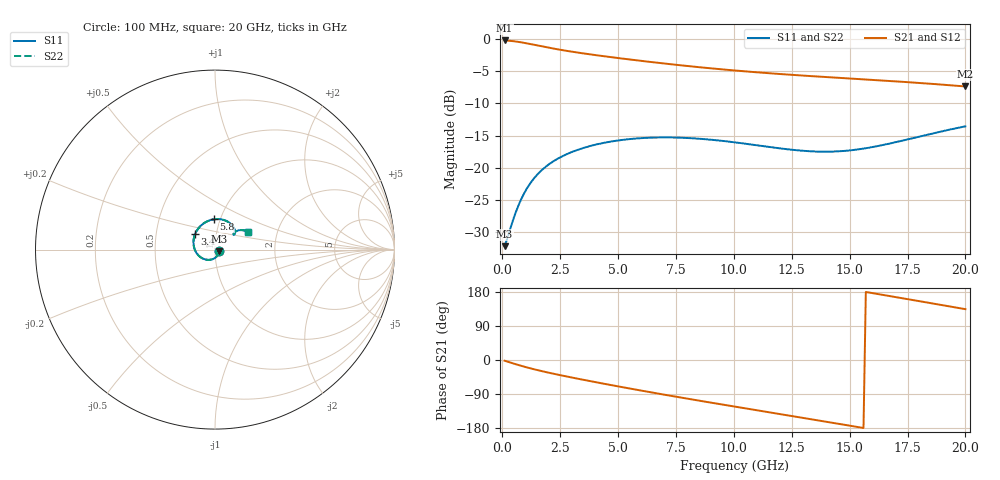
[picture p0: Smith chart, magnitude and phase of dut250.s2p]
! Created with skrf 1.9.0 (http://scikit-rf.org).
# GHz S RI R 50.0
!freq ReS11 ImS11 ReS21 ImS21 ReS12 ImS12 ReS22 ImS22
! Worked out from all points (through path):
!   200 points, 100 MHz to 20 GHz, reference 50 ohm
!   highest |S21| = -0.21 dB at 100 MHz (marker M1); lowest = -7.4 dB at 20 GHz (marker M2)
!   group delay of S21, straight-line fit = 29.7 ps
!   lowest |S11| = -32.2 dB at 100 MHz (marker M3), VSWR 1.05, Z = 52.3 - j1.03 ohm
!   |S11| at or under -10 dB: start of sweep to end of sweep
!   |S22| runs from -32.2 to -13.6 dB; largest |S21 - S12| = 2.1e-15
!   S11 on the Smith chart (normalised r, x): 100 MHz: 1.05, -0.02; 3.4 GHz: 0.79, +0.14; 5.8 GHz: 0.93, +0.32; 20 GHz: 1.42, +0.30
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0.1  0.0225 -0.00982  0.9756 -0.0325  0.9756 -0.0325  0.0225 -0.00982
0.5  0.00737 -0.0403  0.949 -0.1613  0.949 -0.1613  0.00737 -0.0403
0.7  -0.00715 -0.0506  0.9259 -0.2192  0.9259 -0.2192  -0.00715 -0.0506
1  -0.033 -0.0572  0.883 -0.2958  0.883 -0.2958  -0.033 -0.0572
1.3  -0.0593 -0.0534  0.8345 -0.3605  0.8345 -0.3605  -0.0593 -0.0534
1.7  -0.0888 -0.0356  0.7667 -0.4304  0.7667 -0.4304  -0.0888 -0.0356
2.2  -0.1121 -0.00142  0.6824 -0.4983  0.6824 -0.4983  -0.1121 -0.00142
2.8  -0.12 0.0444  0.5845 -0.56  0.5845 -0.56  -0.12 0.0444
3.4  -0.1109 0.0865  0.4896 -0.6059  0.4896 -0.6059  -0.1109 0.0865
3.5  -0.1081 0.0928  0.474 -0.6123  0.474 -0.6123  -0.1081 0.0928
4.6  -0.0641 0.1453  0.3068 -0.66  0.3068 -0.66  -0.0641 0.1453
5.8  -0.0063 0.1689  0.1359 -0.6705  0.1359 -0.6705  -0.0063 0.1689
6.8  0.0369 0.1681  0.00664 -0.6519  0.00664 -0.6519  0.0369 0.1681
8.4  0.0855 0.1454  -0.17 -0.5832  -0.17 -0.5832  0.0855 0.1454
10.1  0.1084 0.1137  -0.3149 -0.474  -0.3149 -0.474  0.1084 0.1137
11.8  0.1106 0.0906  -0.4168 -0.3409  -0.4168 -0.3409  0.1106 0.0906
13.4  0.1052 0.083  -0.4735 -0.2022  -0.4735 -0.2022  0.1052 0.083
14.3  0.1033 0.0848  -0.4881 -0.1213  -0.4881 -0.1213  0.1033 0.0848
15.1  0.1041 0.0891  -0.4904 -0.0492  -0.4904 -0.0492  0.1041 0.0891
16.7  0.1159 0.1011  -0.4645 0.0896  -0.4645 0.0896  0.1159 0.1011
18.3  0.1433 0.1086  -0.4002 0.211  -0.4002 0.211  0.1433 0.1086
20  0.1848 0.0995  -0.2985 0.3075  -0.2985 0.3075  0.1848 0.0995
